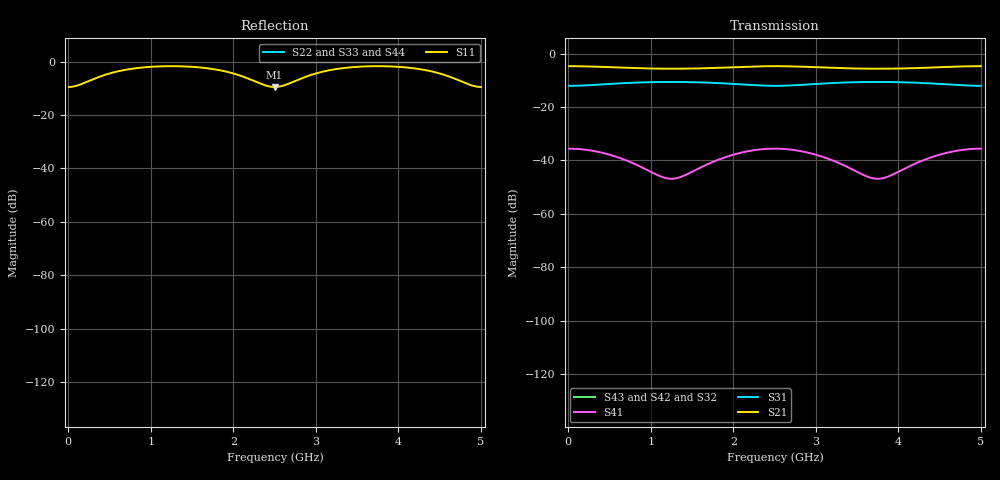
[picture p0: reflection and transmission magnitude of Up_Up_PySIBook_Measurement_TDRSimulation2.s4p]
# MHz MA S R 50.0
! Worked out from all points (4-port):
!   500 points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, 10 MHz to 5 GHz, reference 50 ohm
!   strongest paths, dB at 10 MHz, 1.26 GHz, 2.51 GHz, 3.76 GHz, 5 GHz:
!     S21: -4.7, -5.6, -4.7, -5.6, -4.7
!     S31: -12.0, -10.6, -12.0, -10.6, -12.0
!     S41: -35.6, -46.8, -35.6, -46.8, -35.6
!     S43: -, -, -, -, -
!     S42: -, -, -, -, -
!     S32: -, -, -, -, -
!   lowest |S11| = -9.5 dB at 2.5 GHz (marker M1), VSWR 2.00, Z = 100 + j0 ohm
!   |S11| at or under -10 dB: nowhere
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10  0.3335 1.3  0 0.0  0 0.0  0 0.0
    0.5833 -0.1  0 0.0  0 0.0  0 0.0
    0.25 178.1  0 0.0  0 0.0  0 0.0
    0.01666 -0.6  0 0.0  0 0.0  0 0.0
1250  0.8182 0.0  0 0.0  0 0.0  0 0.0
      0.5227 -0.0  0 0.0  0 0.0  0 0.0
      0.2955 0.0  0 0.0  0 0.0  0 0.0
      0.004545 -0.0  0 0.0  0 0.0  0 0.0
1950  0.6272 -22.7  0 0.0  0 0.0  0 0.0
      0.5535 3.1  0 0.0  0 0.0  0 0.0
      0.2739 -84.6  0 0.0  0 0.0  0 0.0
      0.01216 29.9  0 0.0  0 0.0  0 0.0
2500  0.3333 -0.0  0 0.0  0 0.0  0 0.0
      0.5833 0.0  0 0.0  0 0.0  0 0.0
      0.25 -180.0  0 0.0  0 0.0  0 0.0
      0.01667 0.0  0 0.0  0 0.0  0 0.0
3050  0.6272 22.7  0 0.0  0 0.0  0 0.0
      0.5535 -3.1  0 0.0  0 0.0  0 0.0
      0.2739 84.6  0 0.0  0 0.0  0 0.0
      0.01216 -29.9  0 0.0  0 0.0  0 0.0
3750  0.8182 0.0  0 0.0  0 0.0  0 0.0
      0.5227 -0.0  0 0.0  0 0.0  0 0.0
      0.2955 0.0  0 0.0  0 0.0  0 0.0
      0.004545 -0.0  0 0.0  0 0.0  0 0.0
5000  0.3333 -0.0  0 0.0  0 0.0  0 0.0
      0.5833 0.0  0 0.0  0 0.0  0 0.0
      0.25 -180.0  0 0.0  0 0.0  0 0.0
      0.01667 0.0  0 0.0  0 0.0  0 0.0
